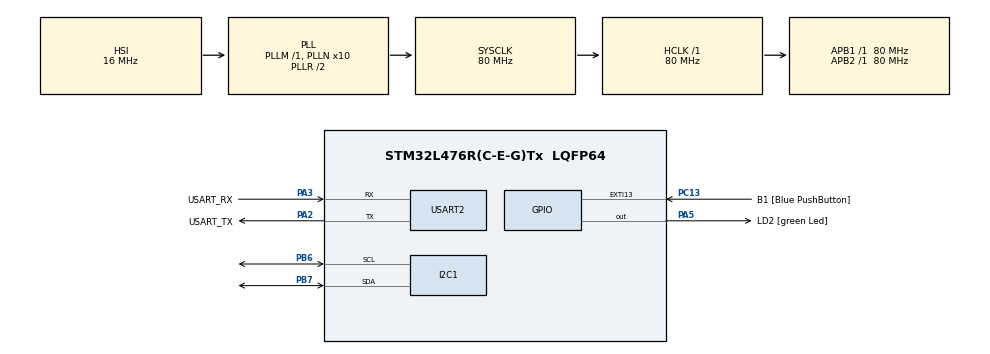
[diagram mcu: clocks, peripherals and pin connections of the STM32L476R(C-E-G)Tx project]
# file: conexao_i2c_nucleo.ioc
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I2C1.Timing=0x10D19CE4
Mcu.Family=STM32L4
Mcu.Name=STM32L476R(C-E-G)Tx
Mcu.Package=LQFP64
NVIC.EXTI15_10_IRQn=true\:0\:0\:false\:false\:true\:true\:true\:true
NVIC.I2C1_ER_IRQn=true\:0\:0\:false\:false\:true\:true\:true\:true
NVIC.I2C1_EV_IRQn=true\:0\:0\:false\:false\:true\:true\:true\:true
NVIC.PriorityGroup=NVIC_PRIORITYGROUP_4
NVIC.USART2_IRQn=true\:0\:0\:false\:false\:true\:true\:true\:true
PA13\ (JTMS-SWDIO).GPIO_Label=TMS
PA13\ (JTMS-SWDIO).Mode=Serial_Wire
PA13\ (JTMS-SWDIO).Signal=SYS_JTMS-SWDIO
PA14\ (JTCK-SWCLK).GPIO_Label=TCK
PA14\ (JTCK-SWCLK).Mode=Serial_Wire
PA14\ (JTCK-SWCLK).Signal=SYS_JTCK-SWCLK
PA2.GPIO_Label=USART_TX
PA2.GPIO_Mode=GPIO_MODE_AF_PP
PA2.GPIO_PuPd=GPIO_PULLUP
PA2.GPIO_Speed=GPIO_SPEED_FREQ_VERY_HIGH
PA2.Mode=Asynchronous
PA2.Signal=USART2_TX
PA3.GPIO_Label=USART_RX
PA3.GPIO_Mode=GPIO_MODE_AF_PP
PA3.GPIO_PuPd=GPIO_PULLUP
PA3.GPIO_Speed=GPIO_SPEED_FREQ_VERY_HIGH
PA3.Mode=Asynchronous
PA3.Signal=USART2_RX
PA5.GPIO_Label=LD2 [green Led]
PA5.GPIO_ModeDefaultOutputPP=GPIO_MODE_OUTPUT_PP
PA5.GPIO_PuPd=GPIO_NOPULL
PA5.GPIO_Speed=GPIO_SPEED_FREQ_LOW
PA5.Signal=GPIO_Output
PB3\ (JTDO-TRACESWO).GPIO_Label=SWO
PB3\ (JTDO-TRACESWO).Signal=SYS_JTDO-SWO
PB6.GPIO_Pu=GPIO_PULLUP
PB6.Mode=I2C
PB6.Signal=I2C1_SCL
PB7.GPIO_Pu=GPIO_PULLUP
PB7.Mode=I2C
PB7.Signal=I2C1_SDA
PC13.GPIO_Label=B1 [Blue PushButton]
PC13.GPIO_ModeDefaultEXTI=GPIO_MODE_IT_FALLING
PC13.GPIO_PuPd=GPIO_NOPULL
PC13.Signal=GPXTI13
PC14-OSC32_IN\ (PC14).Mode=LSE-External-Oscillator
PC14-OSC32_IN\ (PC14).Signal=RCC_OSC32_IN
PC15-OSC32_OUT\ (PC15).Mode=LSE-External-Oscillator
PC15-OSC32_OUT\ (PC15).Signal=RCC_OSC32_OUT
PH0-OSC_IN\ (PH0).Signal=RCC_OSC_IN
PH1-OSC_OUT\ (PH1).Signal=RCC_OSC_OUT
ProjectManager.HeapSize=0x200
ProjectManager.StackSize=0x400
ProjectManager.TargetToolchain=STM32CubeIDE
RCC.ADCFreq_Value=64000000
RCC.AHBFreq_Value=80000000
RCC.APB1Freq_Value=80000000
RCC.APB1TimFreq_Value=80000000
RCC.APB2Freq_Value=80000000
RCC.APB2TimFreq_Value=80000000
RCC.CortexFreq_Value=80000000
RCC.HCLKFreq_Value=80000000
RCC.HSE_VALUE=8000000
RCC.HSI_VALUE=16000000
RCC.MSI_VALUE=4000000
RCC.PLLN=10
RCC.PLLSourceVirtual=RCC_PLLSOURCE_HSI
RCC.PREFETCH_ENABLE=1
RCC.SYSCLKFreq_VALUE=80000000
RCC.SYSCLKSource=RCC_SYSCLKSOURCE_PLLCLK
RCC.USBFreq_Value=64000000
RCC.VCOOutputFreq_Value=160000000
USART2.VirtualMode-Asynchronous=VM_ASYNC
board=NUCLEO-L476RG

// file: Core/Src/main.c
/* USER CODE BEGIN Header */
/**
  ******************************************************************************
  * @file           : main.c
  * @brief          : Main program body
  ******************************************************************************
  * @attention
  *
  * Copyright (c) 2026 STMicroelectronics.
  * All rights reserved.
  *
  * This software is licensed under terms that can be found in the LICENSE file
  * in the root directory of this software component.
  * If no LICENSE file comes with this software, it is provided AS-IS.
  *
  ******************************************************************************
  */
/* USER CODE END Header */
#include "main.h"

/* USER CODE BEGIN Includes */
#include <string.h>
#include <stdio.h>
#include <stdlib.h>
/* USER CODE END Includes */

/* USER CODE BEGIN PD */
#define PCF8591_ADDRESS 0x48 << 1
/* USER CODE END PD */

I2C_HandleTypeDef hi2c1;

UART_HandleTypeDef huart2;

/* USER CODE BEGIN PV */
uint8_t rx_i2c_buffer[2];
uint8_t dac_tx_buffer[2];

uint8_t pcf_control_byte;

volatile uint8_t uart_received = 0;
volatile uint8_t i2c_done = 0;
volatile uint8_t i2c_busy = 0;

typedef enum {
	READ_AIN0,
	READ_AIN1,
	READ_AIN3,
	SET_DAC,
	Null
} Command_t;
Command_t comando = Null;

uint8_t ain0;
uint8_t ain1;
uint8_t ain3;
uint8_t dac_value;

uint8_t rx_char;
volatile uint8_t uart_index = 0;
char rx_uart_buffer[64];

char pc_msg[100];
/* USER CODE END PV */

void SystemClock_Config(void);
static void MX_GPIO_Init(void);
static void MX_I2C1_Init(void);
static void MX_USART2_UART_Init(void);
/* USER CODE BEGIN PFP */
void PCF8591_StartRead(uint8_t channel);
/* USER CODE END PFP */

/* USER CODE BEGIN 0 */
void PCF8591_SetDAC(uint8_t value) {
    if(i2c_busy) {
        return;
    }

    i2c_busy = 1;

    dac_tx_buffer[0] = 0x40;
    dac_tx_buffer[1] = value;

    HAL_I2C_Master_Transmit_IT(&hi2c1, PCF8591_ADDRESS, dac_tx_buffer, 2);
}
/* USER CODE END 0 */

int main(void)
{

  /* MCU Configuration--------------------------------------------------------*/

  /* Reset of all peripherals, Initializes the Flash interface and the Systick. */
  HAL_Init();

  /* Configure the system clock */
  SystemClock_Config();

  /* Initialize all configured peripherals */
  MX_GPIO_Init();
  MX_I2C1_Init();
  MX_USART2_UART_Init();
  /* USER CODE BEGIN 2 */
  HAL_UART_Receive_IT(&huart2, &rx_char, 1);
  /* USER CODE END 2 */

  /* Infinite loop */
  while (1)
  {

    /* USER CODE BEGIN 3 */
	  if (uart_received)
	      {
	          uart_received = 0;
	          uint8_t comando_valido = 0;
	          if (strcmp(rx_uart_buffer, "Read_AIN0") == 0) {
	              comando = READ_AIN0;
	              comando_valido = 1;
	              PCF8591_StartRead(0);
	          }
	          if (strcmp(rx_uart_buffer, "Read_AIN1") == 0) {
	              comando = READ_AIN1;
	              comando_valido = 1;
	              PCF8591_StartRead(1);
	          }
	          if (strcmp(rx_uart_buffer, "Read_AIN3") == 0) {
	              comando = READ_AIN3;
	              comando_valido = 1;
	              PCF8591_StartRead(3);
	          }
	          if (strncmp(rx_uart_buffer, "Set_DAC_", 8) == 0) {
	              uint8_t valor = atoi(&rx_uart_buffer[8]);
	              if (valor > 255) {
	            	  valor = 255;
	              }
	              comando = SET_DAC;
	              comando_valido = 1;
	              PCF8591_SetDAC(valor);

	              sprintf(pc_msg, "DAC = %d\r\n", valor);

	              HAL_UART_Transmit_IT(&huart2, (uint8_t*)pc_msg, strlen(pc_msg));
	          }
	          if (!comando_valido){
		          sprintf(pc_msg, "Comando invalido\r\n");

		          HAL_UART_Transmit_IT(&huart2, (uint8_t*)pc_msg, strlen(pc_msg));
	          }

	      }

	      if (i2c_done) {
	          i2c_done = 0;

	          switch(comando) {
	              case READ_AIN0:

	                  ain0 = rx_i2c_buffer[1];
	                  sprintf(pc_msg, "AIN0 = %d\r\n", ain0);
	                  break;

	              case READ_AIN1:

	                  ain1 = rx_i2c_buffer[1];
	                  sprintf(pc_msg, "AIN1 = %d\r\n", ain1);
	                  break;

	              case READ_AIN3:

	                  ain3 = rx_i2c_buffer[1];
	                  sprintf(pc_msg, "AIN3 = %d\r\n", ain3);
	                  break;

	              default:
	                  break;
	          }

	          HAL_UART_Transmit_IT(&huart2, (uint8_t*)pc_msg, strlen(pc_msg));
	      }
  }
  /* USER CODE END 3 */
}

void SystemClock_Config(void)
{
  RCC_OscInitTypeDef RCC_OscInitStruct = {0};
  RCC_ClkInitTypeDef RCC_ClkInitStruct = {0};

  /** Configure the main internal regulator output voltage
  */
  if (HAL_PWREx_ControlVoltageScaling(PWR_REGULATOR_VOLTAGE_SCALE1) != HAL_OK)
  {
    Error_Handler();
  }

  /** Initializes the RCC Oscillators according to the specified parameters
  * in the RCC_OscInitTypeDef structure.
  */
  RCC_OscInitStruct.OscillatorType = RCC_OSCILLATORTYPE_HSI;
  RCC_OscInitStruct.HSIState = RCC_HSI_ON;
  RCC_OscInitStruct.HSICalibrationValue = RCC_HSICALIBRATION_DEFAULT;
  RCC_OscInitStruct.PLL.PLLState = RCC_PLL_ON;
  RCC_OscInitStruct.PLL.PLLSource = RCC_PLLSOURCE_HSI;
  RCC_OscInitStruct.PLL.PLLM = 1;
  RCC_OscInitStruct.PLL.PLLN = 10;
  RCC_OscInitStruct.PLL.PLLP = RCC_PLLP_DIV7;
  RCC_OscInitStruct.PLL.PLLQ = RCC_PLLQ_DIV2;
  RCC_OscInitStruct.PLL.PLLR = RCC_PLLR_DIV2;
  if (HAL_RCC_OscConfig(&RCC_OscInitStruct) != HAL_OK)
  {
    Error_Handler();
  }

  /** Initializes the CPU, AHB and APB buses clocks
  */
  RCC_ClkInitStruct.ClockType = RCC_CLOCKTYPE_HCLK|RCC_CLOCKTYPE_SYSCLK
                              |RCC_CLOCKTYPE_PCLK1|RCC_CLOCKTYPE_PCLK2;
  RCC_ClkInitStruct.SYSCLKSource = RCC_SYSCLKSOURCE_PLLCLK;
  RCC_ClkInitStruct.AHBCLKDivider = RCC_SYSCLK_DIV1;
  RCC_ClkInitStruct.APB1CLKDivider = RCC_HCLK_DIV1;
  RCC_ClkInitStruct.APB2CLKDivider = RCC_HCLK_DIV1;

  if (HAL_RCC_ClockConfig(&RCC_ClkInitStruct, FLASH_LATENCY_4) != HAL_OK)
  {
    Error_Handler();
  }
}

static void MX_I2C1_Init(void)
{

  hi2c1.Instance = I2C1;
  hi2c1.Init.Timing = 0x10D19CE4;
  hi2c1.Init.OwnAddress1 = 0;
  hi2c1.Init.AddressingMode = I2C_ADDRESSINGMODE_7BIT;
  hi2c1.Init.DualAddressMode = I2C_DUALADDRESS_DISABLE;
  hi2c1.Init.OwnAddress2 = 0;
  hi2c1.Init.OwnAddress2Masks = I2C_OA2_NOMASK;
  hi2c1.Init.GeneralCallMode = I2C_GENERALCALL_DISABLE;
  hi2c1.Init.NoStretchMode = I2C_NOSTRETCH_DISABLE;
  if (HAL_I2C_Init(&hi2c1) != HAL_OK)
  {
    Error_Handler();
  }

  /** Configure Analogue filter
  */
  if (HAL_I2CEx_ConfigAnalogFilter(&hi2c1, I2C_ANALOGFILTER_ENABLE) != HAL_OK)
  {
    Error_Handler();
  }

  /** Configure Digital filter
  */
  if (HAL_I2CEx_ConfigDigitalFilter(&hi2c1, 0) != HAL_OK)
  {
    Error_Handler();
  }

}

static void MX_USART2_UART_Init(void)
{

  huart2.Instance = USART2;
  huart2.Init.BaudRate = 115200;
  huart2.Init.WordLength = UART_WORDLENGTH_8B;
  huart2.Init.StopBits = UART_STOPBITS_1;
  huart2.Init.Parity = UART_PARITY_NONE;
  huart2.Init.Mode = UART_MODE_TX_RX;
  huart2.Init.HwFlowCtl = UART_HWCONTROL_NONE;
  huart2.Init.OverSampling = UART_OVERSAMPLING_16;
  huart2.Init.OneBitSampling = UART_ONE_BIT_SAMPLE_DISABLE;
  huart2.AdvancedInit.AdvFeatureInit = UART_ADVFEATURE_NO_INIT;
  if (HAL_UART_Init(&huart2) != HAL_OK)
  {
    Error_Handler();
  }

}

static void MX_GPIO_Init(void)
{
  GPIO_InitTypeDef GPIO_InitStruct = {0};

  /* GPIO Ports Clock Enable */
  __HAL_RCC_GPIOC_CLK_ENABLE();
  __HAL_RCC_GPIOH_CLK_ENABLE();
  __HAL_RCC_GPIOA_CLK_ENABLE();
  __HAL_RCC_GPIOB_CLK_ENABLE();

  /*Configure GPIO pin Output Level */
  HAL_GPIO_WritePin(LD2_GPIO_Port, LD2_Pin, GPIO_PIN_RESET);

  /*Configure GPIO pin : B1_Pin */
  GPIO_InitStruct.Pin = B1_Pin;
  GPIO_InitStruct.Mode = GPIO_MODE_IT_FALLING;
  GPIO_InitStruct.Pull = GPIO_NOPULL;
  HAL_GPIO_Init(B1_GPIO_Port, &GPIO_InitStruct);

  /*Configure GPIO pin : LD2_Pin */
  GPIO_InitStruct.Pin = LD2_Pin;
  GPIO_InitStruct.Mode = GPIO_MODE_OUTPUT_PP;
  GPIO_InitStruct.Pull = GPIO_NOPULL;
  GPIO_InitStruct.Speed = GPIO_SPEED_FREQ_LOW;
  HAL_GPIO_Init(LD2_GPIO_Port, &GPIO_InitStruct);

  /* EXTI interrupt init*/
  HAL_NVIC_SetPriority(EXTI15_10_IRQn, 0, 0);
  HAL_NVIC_EnableIRQ(EXTI15_10_IRQn);

}

/* USER CODE BEGIN 4 */
void PCF8591_StartRead(uint8_t channel) {
	if (i2c_busy) {
		return;
	}

	i2c_busy = 1;

	pcf_control_byte = 0x40 | channel;

	HAL_I2C_Master_Transmit_IT(&hi2c1, PCF8591_ADDRESS, &pcf_control_byte, 1);
}

void HAL_I2C_MasterRxCpltCallback(I2C_HandleTypeDef *hi2c) {
	if (hi2c->Instance == I2C1) {
	    i2c_done = 1;
	    i2c_busy = 0;
	}
}

void HAL_I2C_MasterTxCpltCallback(I2C_HandleTypeDef *hi2c) {
	if (hi2c->Instance == I2C1) {
		        if (comando == READ_AIN0 || comando == READ_AIN1 || comando == READ_AIN3) {
		            HAL_I2C_Master_Receive_IT(&hi2c1, PCF8591_ADDRESS, rx_i2c_buffer, 2);
		        }
		        else {
		            i2c_busy = 0;
		        }
		    }
}

void HAL_UART_RxCpltCallback(UART_HandleTypeDef *huart) {
    if (huart->Instance == USART2) {
        if (rx_char == '\r' || rx_char == '\n') {
            rx_uart_buffer[uart_index] = '\0';
            uart_index = 0;
            uart_received = 1;
        }
        else {
            rx_uart_buffer[uart_index++] = rx_char;

            if (uart_index >= sizeof(rx_uart_buffer) - 1) {
                uart_index = 0;
            }
        }

        HAL_UART_Receive_IT(&huart2, &rx_char, 1);
    }
}
/* USER CODE END 4 */

void Error_Handler(void)
{
  __disable_irq();
  while (1)
  {
  }
}
